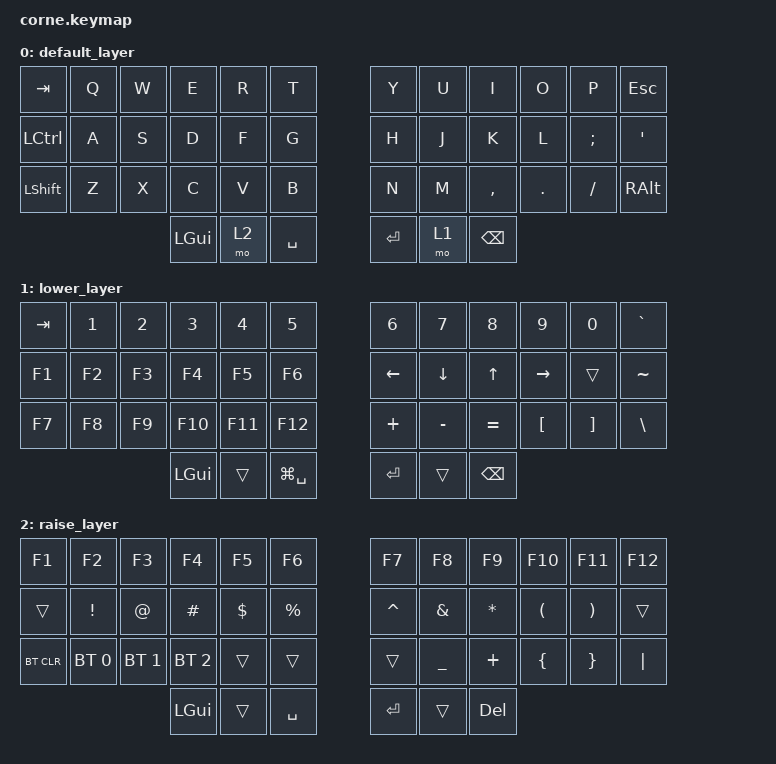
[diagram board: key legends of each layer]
/*
 * Copyright (c) 2020 The ZMK Contributors
 *
 * SPDX-License-Identifier: MIT
 */

#include <behaviors.dtsi>
#include <dt-bindings/zmk/bt.h>
#include <dt-bindings/zmk/keys.h>

/ {
    keymap {
        compatible = "zmk,keymap";

        default_layer {
            // -----------------------------------------------------------------------------------------
            // |  TAB |  Q  |  W  |  E  |  R  |  T  |   |  Y  |  U   |  I  |  O  |  P  | BKSP |
            // | CTRL |  A  |  S  |  D  |  F  |  G  |   |  H  |  J   |  K  |  L  |  ;  |  '   |
            // | SHFT |  Z  |  X  |  C  |  V  |  B  |   |  N  |  M   |  ,  |  .  |  /  | ESC  |
            //                    | GUI | LWR | SPC |   | ENT | RSE  | ALT |

            bindings = <
&kp TAB    &kp Q  &kp W  &kp E     &kp R  &kp T        &kp Y    &kp U  &kp I          &kp O    &kp P     &kp ESC
&kp LCTRL  &kp A  &kp S  &kp D     &kp F  &kp G        &kp H    &kp J  &kp K          &kp L    &kp SEMI  &kp SINGLE_QUOTE
&kp LSHFT  &kp Z  &kp X  &kp C     &kp V  &kp B        &kp N    &kp M  &kp COMMA      &kp DOT  &kp FSLH  &kp RIGHT_ALT
                         &kp LGUI  &mo 2  &kp SPACE    &kp RET  &mo 1  &kp BACKSPACE
            >;
        };

        lower_layer {
            // -----------------------------------------------------------------------------------------
            // |  TAB |  1  |  2  |  3  |  4  |  5  |   |  6  |  7  |  8  |  9  |  0  | BKSP |
            // | BTCLR| BT1 | BT2 | BT3 | BT4 | BT5 |   | LFT | DWN |  UP | RGT |     |      |
            // | SHFT |     |     |     |     |     |   |     |     |     |     |     |      |
            //                    | GUI |     | SPC |   | ENT |     | ALT |

            bindings = <
&kp TAB  &kp N1  &kp N2  &kp N3    &kp N4   &kp N5           &kp N6    &kp N7     &kp N8         &kp N9            &kp N0             &kp GRAVE
&kp F1   &kp F2  &kp F3  &kp F4    &kp F5   &kp F6           &kp LEFT  &kp DOWN   &kp UP         &kp RIGHT         &trans             &kp TILDE
&kp F7   &kp F8  &kp F9  &kp F10   &kp F11  &kp F12          &kp PLUS  &kp MINUS  &kp EQUAL      &kp LEFT_BRACKET  &kp RIGHT_BRACKET  &kp BACKSLASH
                         &kp LGUI  &trans   &kp LG(SPACE)    &kp RET   &trans     &kp BACKSPACE
            >;
        };

        raise_layer {
            // -----------------------------------------------------------------------------------------
            // |  TAB |  !  |  @  |  #  |  $  |  %  |   |  ^  |  &  |  *  |  (  |  )  | BKSP |
            // | CTRL |     |     |     |     |     |   |  -  |  =  |  [  |  ]  |  \  |  `   |
            // | SHFT |     |     |     |     |     |   |  _  |  +  |  {  |  }  | "|" |  ~   |
            //                    | GUI |     | SPC |   | ENT |     | ALT |

            bindings = <
&kp F1      &kp F2           &kp F3        &kp F4        &kp F5      &kp F6         &kp F7     &kp F8          &kp F9        &kp F10               &kp F11                &kp F12
&trans      &kp EXCLAMATION  &kp AT_SIGN   &kp HASH      &kp DOLLAR  &kp PERCENT    &kp CARET  &kp AMPERSAND   &kp ASTERISK  &kp LEFT_PARENTHESIS  &kp RIGHT_PARENTHESIS  &trans
&bt BT_CLR  &bt BT_SEL 0     &bt BT_SEL 1  &bt BT_SEL 2  &trans      &trans         &trans     &kp UNDERSCORE  &kp PLUS      &kp LEFT_BRACE        &kp RIGHT_BRACE        &kp PIPE
                                           &kp LGUI      &trans      &kp SPACE      &kp RET    &trans          &kp DELETE
            >;
        };
    };
};
